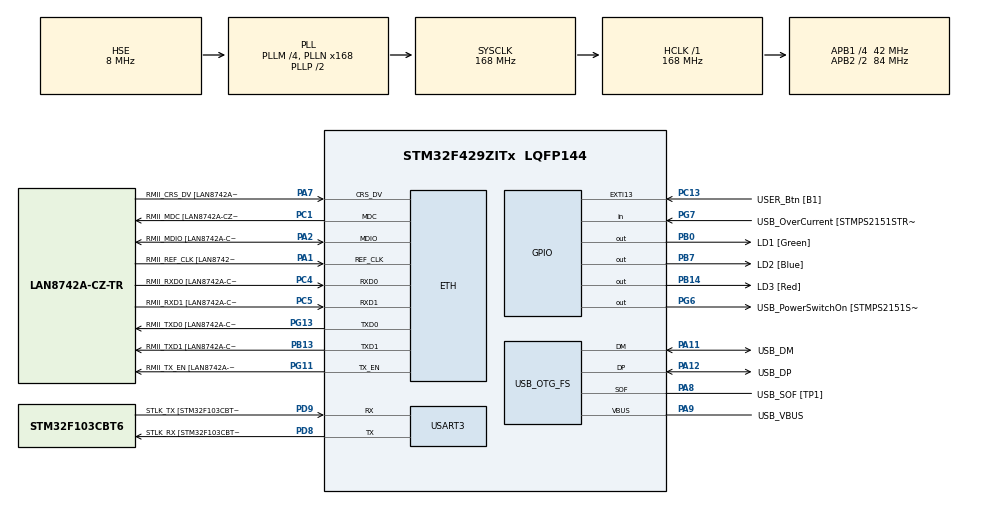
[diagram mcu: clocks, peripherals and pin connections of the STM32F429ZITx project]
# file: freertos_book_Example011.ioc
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ETH.MediaInterface=HAL_ETH_RMII_MODE
ETH.PHY_Name=LAN8742A_PHY_ADDRESS
ETH.PHY_Value=0
ETH.PhyAddress=0
FREERTOS.MEMORY_ALLOCATION=0
FREERTOS.Tasks01=defaultTask,0,128,StartDefaultTask,Default,NULL,Dynamic,NULL,NULL
FREERTOS.configUSE_NEWLIB_REENTRANT=1
Mcu.Family=STM32F4
Mcu.Name=STM32F429ZITx
Mcu.Package=LQFP144
NVIC.PriorityGroup=NVIC_PRIORITYGROUP_4
NVIC.TIM7_IRQn=true\:15\:0\:false\:false\:true\:false\:false\:true\:true
NVIC.TimeBase=TIM7_IRQn
NVIC.TimeBaseIP=TIM7
PA1.GPIO_Label=RMII_REF_CLK [LAN8742A-CZ-TR_REFCLK0]
PA1.Mode=RMII
PA1.Signal=ETH_REF_CLK
PA10.GPIO_Label=USB_ID
PA10.Signal=USB_OTG_FS_ID
PA11.GPIO_Label=USB_DM
PA11.Mode=Device_Only
PA11.Signal=USB_OTG_FS_DM
PA12.GPIO_Label=USB_DP
PA12.Mode=Device_Only
PA12.Signal=USB_OTG_FS_DP
PA13.GPIO_Label=TMS
PA13.Mode=Serial_Wire
PA13.Signal=SYS_JTMS-SWDIO
PA14.GPIO_Label=TCK
PA14.Mode=Serial_Wire
PA14.Signal=SYS_JTCK-SWCLK
PA2.GPIO_Label=RMII_MDIO [LAN8742A-CZ-TR_MDIO]
PA2.Mode=RMII
PA2.Signal=ETH_MDIO
PA7.GPIO_Label=RMII_CRS_DV [LAN8742A-CZ-TR_CRS_DV]
PA7.Mode=RMII
PA7.Signal=ETH_CRS_DV
PA8.GPIO_Label=USB_SOF [TP1]
PA8.Mode=Activate_SOF_FS
PA8.Signal=USB_OTG_FS_SOF
PA9.GPIO_Label=USB_VBUS
PA9.Mode=Activate_VBUS
PA9.Signal=USB_OTG_FS_VBUS
PB0.GPIO_Label=LD1 [Green]
PB0.Signal=GPIO_Output
PB13.GPIO_Label=RMII_TXD1 [LAN8742A-CZ-TR_TXD1]
PB13.Mode=RMII
PB13.Signal=ETH_TXD1
PB14.GPIO_Label=LD3 [Red]
PB14.Signal=GPIO_Output
PB7.GPIO_Label=LD2 [Blue]
PB7.Signal=GPIO_Output
PC1.GPIO_Label=RMII_MDC [LAN8742A-CZ-TR_MDC]
PC1.Mode=RMII
PC1.Signal=ETH_MDC
PC13.GPIO_Label=USER_Btn [B1]
PC13.Signal=GPXTI13
PC14/OSC32_IN.Mode=LSE-External-Oscillator
PC14/OSC32_IN.Signal=RCC_OSC32_IN
PC15/OSC32_OUT.Mode=LSE-External-Oscillator
PC15/OSC32_OUT.Signal=RCC_OSC32_OUT
PC4.GPIO_Label=RMII_RXD0 [LAN8742A-CZ-TR_RXD0]
PC4.Mode=RMII
PC4.Signal=ETH_RXD0
PC5.GPIO_Label=RMII_RXD1 [LAN8742A-CZ-TR_RXD1]
PC5.Mode=RMII
PC5.Signal=ETH_RXD1
PD8.GPIO_Label=STLK_RX [STM32F103CBT6_PA3]
PD8.Mode=Asynchronous
PD8.Signal=USART3_TX
PD9.GPIO_Label=STLK_TX [STM32F103CBT6_PA2]
PD9.Mode=Asynchronous
PD9.Signal=USART3_RX
PG11.GPIO_Label=RMII_TX_EN [LAN8742A-CZ-TR_TXEN]
PG11.Mode=RMII
PG11.Signal=ETH_TX_EN
PG13.GPIO_Label=RMII_TXD0 [LAN8742A-CZ-TR_TXD0]
PG13.Mode=RMII
PG13.Signal=ETH_TXD0
PG6.GPIO_Label=USB_PowerSwitchOn [STMPS2151STR_EN]
PG6.Signal=GPIO_Output
PG7.GPIO_Label=USB_OverCurrent [STMPS2151STR_FAULT]
PG7.Signal=GPIO_Input
PH0/OSC_IN.GPIO_Label=MCO [STM32F103CBT6_PA8]
PH0/OSC_IN.Mode=HSE-External-Clock-Source
PH0/OSC_IN.Signal=RCC_OSC_IN
PH1/OSC_OUT.Mode=HSE-External-Clock-Source
PH1/OSC_OUT.Signal=RCC_OSC_OUT
ProjectManager.HeapSize=0x200
ProjectManager.StackSize=0x400
ProjectManager.TargetToolchain=STM32CubeIDE
RCC.48MHZClocksFreq_Value=48000000
RCC.AHBFreq_Value=168000000
RCC.APB1CLKDivider=RCC_HCLK_DIV4
RCC.APB1Freq_Value=42000000
RCC.APB1TimFreq_Value=84000000
RCC.APB2CLKDivider=RCC_HCLK_DIV2
RCC.APB2Freq_Value=84000000
RCC.APB2TimCLKDivider=2
RCC.APB2TimFreq_Value=168000000
RCC.CortexFreq_Value=168000000
RCC.HCLKFreq_Value=168000000
RCC.HSE_VALUE=8000000
RCC.HSI_VALUE=16000000
RCC.PLLM=4
RCC.PLLMUL=RCC_PLL_MUL9
RCC.PLLN=168
RCC.PLLQ=7
RCC.PRESCALERUSB=RCC_USBCLKSOURCE_PLL_DIV1_5
RCC.SYSCLKFreq_VALUE=168000000
RCC.SYSCLKSource=RCC_SYSCLKSOURCE_PLLCLK
RCC.SYSCLKSourceVirtual=RCC_SYSCLKSOURCE_PLLCLK
RCC.USBFreq_Value=48000000
RCC.VCOOutputFreq_Value=336000000
USART3.VirtualMode=VM_ASYNC
USB_OTG_FS.VirtualMode=Device_Only
VP_FREERTOS_VS_CMSIS_V1.Mode=CMSIS_V1
VP_SYS_VS_tim7.Mode=TIM7
board=NUCLEO-F429ZI

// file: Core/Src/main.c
/* USER CODE BEGIN Header */
/**
  ******************************************************************************
  * @file           : main.c
  * @brief          : Main program body
  ******************************************************************************
  * @attention
  *
  * Copyright (c) 2022 STMicroelectronics.
  * All rights reserved.
  *
  * This software is licensed under terms that can be found in the LICENSE file
  * in the root directory of this software component.
  * If no LICENSE file comes with this software, it is provided AS-IS.
  *
  ******************************************************************************
  */
/* USER CODE END Header */
#include "main.h"
#include "string.h"
#include "cmsis_os.h"

/* USER CODE BEGIN Includes */
/* Standard includes. */
#include <stdio.h>
#include <stdlib.h>

/* Demo includes. */
#include "supportingFunctions.h"

/* USER CODE END Includes */

/* USER CODE BEGIN PD */
typedef enum
{
	eSender1,
	eSender2
} DataSource_t;

/* Define the structure type that will be passed on the queue. */
typedef struct
{
	uint8_t ucValue;
	DataSource_t eDataSource;
} Data_t;

/* Declare two variables of type Data_t that will be passed on the queue. */
static const Data_t xStructsToSend[ 2 ] =
{
	{ 100, eSender1 }, /* Used by Sender1. */
	{ 200, eSender2 }  /* Used by Sender2. */
};

/* USER CODE END PD */

ETH_TxPacketConfig TxConfig;
ETH_DMADescTypeDef  DMARxDscrTab[ETH_RX_DESC_CNT]; /* Ethernet Rx DMA Descriptors */
ETH_DMADescTypeDef  DMATxDscrTab[ETH_TX_DESC_CNT]; /* Ethernet Tx DMA Descriptors */

ETH_HandleTypeDef heth;

UART_HandleTypeDef huart3;

PCD_HandleTypeDef hpcd_USB_OTG_FS;

osThreadId defaultTaskHandle;
/* USER CODE BEGIN PV */
QueueHandle_t QueueHandle;

/* USER CODE END PV */

void SystemClock_Config(void);
static void MX_GPIO_Init(void);
static void MX_ETH_Init(void);
static void MX_USART3_UART_Init(void);
static void MX_USB_OTG_FS_PCD_Init(void);
void StartDefaultTask(void const * argument);

/* USER CODE BEGIN PFP */
void vSenderTask(void *pvParameters);
void vReceiverTask(void *pvParameters);

/* USER CODE END PFP */

int main(void)
{
  /* USER CODE BEGIN 1 */
	const char *pcTextForMain = "freertos_book_Example011 is running: Blocking when sending to a queue, and sending structures on a queue\r\n\n";

  /* USER CODE END 1 */

  /* MCU Configuration--------------------------------------------------------*/

  /* Reset of all peripherals, Initializes the Flash interface and the Systick. */
  HAL_Init();

  /* Configure the system clock */
  SystemClock_Config();

  /* Initialize all configured peripherals */
  MX_GPIO_Init();
  MX_ETH_Init();
  MX_USART3_UART_Init();
  MX_USB_OTG_FS_PCD_Init();
  /* USER CODE BEGIN 2 */
	/* Print out the name of this Example. */
	vPrintString( pcTextForMain );

  /* USER CODE END 2 */

  /* USER CODE BEGIN RTOS_QUEUES */
  /* add queues, ... */
    /* The queue is created to hold a maximum of 3 structures of type Data_t. */
	QueueHandle = xQueueCreate( 5, sizeof( Data_t ) );

    /* Check the queues was created successfully */
    configASSERT( QueueHandle != NULL );

  /* USER CODE END RTOS_QUEUES */

  /* Create the thread(s) */
  /* definition and creation of defaultTask */
  osThreadDef(defaultTask, StartDefaultTask, osPriorityNormal, 0, 128);
  defaultTaskHandle = osThreadCreate(osThread(defaultTask), NULL);

  /* USER CODE BEGIN RTOS_THREADS */
  /* add threads, ... */
	BaseType_t ret;

	/* Sender 1 thread at priority 2 */
	ret = xTaskCreate( vSenderTask,					/* Pointer to the function thats implement the task. */
					   "Sender 1",					/* Text name for the task. This is to facilitate debugging only. */
					   (4 * configMINIMAL_STACK_SIZE),	/* Stack depth in words. 				*/
					   ( void * ) &( xStructsToSend[ 0 ] ),	/* Pass the structure to be used in as the task parameter.	*/
					   (tskIDLE_PRIORITY + 2UL),	/* This task will run at priority 2. 		*/
		               NULL );          	        /* We are not using the task handle. */

	/* Check the task was created successfully. */
	configASSERT( ret == pdPASS );

	/* Sender 2 thread at priority 2 */
	ret = xTaskCreate( vSenderTask,					/* Pointer to the function thats implement the task. */
					   "Sender 2",					/* Text name for the task. This is to facilitate debugging only. */
					   (4 * configMINIMAL_STACK_SIZE),	/* Stack depth in words. 				*/
					   ( void * ) &( xStructsToSend[ 1 ] ),	/* Pass the structure to be used in as the task parameter.	*/
					   (tskIDLE_PRIORITY + 2UL),	/* This task will run at priority 2. 		*/
		               NULL );          	        /* We are not using the task handle. */

	/* Check the task was created successfully. */
	configASSERT( ret == pdPASS );

	/* Receiver thread at priority 1 */
	ret = xTaskCreate( vReceiverTask,				/* Pointer to the function thats implement the task. */
					   "Receiver",					/* Text name for the task. This is to facilitate debugging only. */
					   (4 * configMINIMAL_STACK_SIZE),	/* Stack depth in words. 				*/
					   NULL,						/* We are not using the task parameter.		*/
					   (tskIDLE_PRIORITY + 1UL),	/* This task will run at priority 1. 		*/
		               NULL );          	        /* We are not using the task handle. */

	/* Check the task was created successfully. */
	configASSERT( ret == pdPASS );

  /* USER CODE END RTOS_THREADS */

  /* Start scheduler */
  osKernelStart();

  /* We should never get here as control is now taken by the scheduler */
  /* Infinite loop */
  while (1)
  {

  }
}

void SystemClock_Config(void)
{
  RCC_OscInitTypeDef RCC_OscInitStruct = {0};
  RCC_ClkInitTypeDef RCC_ClkInitStruct = {0};

  /** Configure the main internal regulator output voltage
  */
  __HAL_RCC_PWR_CLK_ENABLE();
  __HAL_PWR_VOLTAGESCALING_CONFIG(PWR_REGULATOR_VOLTAGE_SCALE1);

  /** Initializes the RCC Oscillators according to the specified parameters
  * in the RCC_OscInitTypeDef structure.
  */
  RCC_OscInitStruct.OscillatorType = RCC_OSCILLATORTYPE_HSE;
  RCC_OscInitStruct.HSEState = RCC_HSE_BYPASS;
  RCC_OscInitStruct.PLL.PLLState = RCC_PLL_ON;
  RCC_OscInitStruct.PLL.PLLSource = RCC_PLLSOURCE_HSE;
  RCC_OscInitStruct.PLL.PLLM = 4;
  RCC_OscInitStruct.PLL.PLLN = 168;
  RCC_OscInitStruct.PLL.PLLP = RCC_PLLP_DIV2;
  RCC_OscInitStruct.PLL.PLLQ = 7;
  if (HAL_RCC_OscConfig(&RCC_OscInitStruct) != HAL_OK)
  {
    Error_Handler();
  }

  /** Initializes the CPU, AHB and APB buses clocks
  */
  RCC_ClkInitStruct.ClockType = RCC_CLOCKTYPE_HCLK|RCC_CLOCKTYPE_SYSCLK
                              |RCC_CLOCKTYPE_PCLK1|RCC_CLOCKTYPE_PCLK2;
  RCC_ClkInitStruct.SYSCLKSource = RCC_SYSCLKSOURCE_PLLCLK;
  RCC_ClkInitStruct.AHBCLKDivider = RCC_SYSCLK_DIV1;
  RCC_ClkInitStruct.APB1CLKDivider = RCC_HCLK_DIV4;
  RCC_ClkInitStruct.APB2CLKDivider = RCC_HCLK_DIV2;

  if (HAL_RCC_ClockConfig(&RCC_ClkInitStruct, FLASH_LATENCY_5) != HAL_OK)
  {
    Error_Handler();
  }
}

static void MX_ETH_Init(void)
{

   static uint8_t MACAddr[6];

  heth.Instance = ETH;
  MACAddr[0] = 0x00;
  MACAddr[1] = 0x80;
  MACAddr[2] = 0xE1;
  MACAddr[3] = 0x00;
  MACAddr[4] = 0x00;
  MACAddr[5] = 0x00;
  heth.Init.MACAddr = &MACAddr[0];
  heth.Init.MediaInterface = HAL_ETH_RMII_MODE;
  heth.Init.TxDesc = DMATxDscrTab;
  heth.Init.RxDesc = DMARxDscrTab;
  heth.Init.RxBuffLen = 1524;

  if (HAL_ETH_Init(&heth) != HAL_OK)
  {
    Error_Handler();
  }

  memset(&TxConfig, 0 , sizeof(ETH_TxPacketConfig));
  TxConfig.Attributes = ETH_TX_PACKETS_FEATURES_CSUM | ETH_TX_PACKETS_FEATURES_CRCPAD;
  TxConfig.ChecksumCtrl = ETH_CHECKSUM_IPHDR_PAYLOAD_INSERT_PHDR_CALC;
  TxConfig.CRCPadCtrl = ETH_CRC_PAD_INSERT;

}

static void MX_USART3_UART_Init(void)
{

  huart3.Instance = USART3;
  huart3.Init.BaudRate = 115200;
  huart3.Init.WordLength = UART_WORDLENGTH_8B;
  huart3.Init.StopBits = UART_STOPBITS_1;
  huart3.Init.Parity = UART_PARITY_NONE;
  huart3.Init.Mode = UART_MODE_TX_RX;
  huart3.Init.HwFlowCtl = UART_HWCONTROL_NONE;
  huart3.Init.OverSampling = UART_OVERSAMPLING_16;
  if (HAL_UART_Init(&huart3) != HAL_OK)
  {
    Error_Handler();
  }

}

static void MX_USB_OTG_FS_PCD_Init(void)
{

  hpcd_USB_OTG_FS.Instance = USB_OTG_FS;
  hpcd_USB_OTG_FS.Init.dev_endpoints = 4;
  hpcd_USB_OTG_FS.Init.speed = PCD_SPEED_FULL;
  hpcd_USB_OTG_FS.Init.dma_enable = DISABLE;
  hpcd_USB_OTG_FS.Init.phy_itface = PCD_PHY_EMBEDDED;
  hpcd_USB_OTG_FS.Init.Sof_enable = ENABLE;
  hpcd_USB_OTG_FS.Init.low_power_enable = DISABLE;
  hpcd_USB_OTG_FS.Init.lpm_enable = DISABLE;
  hpcd_USB_OTG_FS.Init.vbus_sensing_enable = ENABLE;
  hpcd_USB_OTG_FS.Init.use_dedicated_ep1 = DISABLE;
  if (HAL_PCD_Init(&hpcd_USB_OTG_FS) != HAL_OK)
  {
    Error_Handler();
  }

}

static void MX_GPIO_Init(void)
{
  GPIO_InitTypeDef GPIO_InitStruct = {0};

  /* GPIO Ports Clock Enable */
  __HAL_RCC_GPIOC_CLK_ENABLE();
  __HAL_RCC_GPIOH_CLK_ENABLE();
  __HAL_RCC_GPIOA_CLK_ENABLE();
  __HAL_RCC_GPIOB_CLK_ENABLE();
  __HAL_RCC_GPIOD_CLK_ENABLE();
  __HAL_RCC_GPIOG_CLK_ENABLE();

  /*Configure GPIO pin Output Level */
  HAL_GPIO_WritePin(GPIOB, LD1_Pin|LD3_Pin|LD2_Pin, GPIO_PIN_RESET);

  /*Configure GPIO pin Output Level */
  HAL_GPIO_WritePin(USB_PowerSwitchOn_GPIO_Port, USB_PowerSwitchOn_Pin, GPIO_PIN_RESET);

  /*Configure GPIO pin : USER_Btn_Pin */
  GPIO_InitStruct.Pin = USER_Btn_Pin;
  GPIO_InitStruct.Mode = GPIO_MODE_IT_RISING;
  GPIO_InitStruct.Pull = GPIO_NOPULL;
  HAL_GPIO_Init(USER_Btn_GPIO_Port, &GPIO_InitStruct);

  /*Configure GPIO pins : LD1_Pin LD3_Pin LD2_Pin */
  GPIO_InitStruct.Pin = LD1_Pin|LD3_Pin|LD2_Pin;
  GPIO_InitStruct.Mode = GPIO_MODE_OUTPUT_PP;
  GPIO_InitStruct.Pull = GPIO_NOPULL;
  GPIO_InitStruct.Speed = GPIO_SPEED_FREQ_LOW;
  HAL_GPIO_Init(GPIOB, &GPIO_InitStruct);

  /*Configure GPIO pin : USB_PowerSwitchOn_Pin */
  GPIO_InitStruct.Pin = USB_PowerSwitchOn_Pin;
  GPIO_InitStruct.Mode = GPIO_MODE_OUTPUT_PP;
  GPIO_InitStruct.Pull = GPIO_NOPULL;
  GPIO_InitStruct.Speed = GPIO_SPEED_FREQ_LOW;
  HAL_GPIO_Init(USB_PowerSwitchOn_GPIO_Port, &GPIO_InitStruct);

  /*Configure GPIO pin : USB_OverCurrent_Pin */
  GPIO_InitStruct.Pin = USB_OverCurrent_Pin;
  GPIO_InitStruct.Mode = GPIO_MODE_INPUT;
  GPIO_InitStruct.Pull = GPIO_NOPULL;
  HAL_GPIO_Init(USB_OverCurrent_GPIO_Port, &GPIO_InitStruct);

}

/* USER CODE BEGIN 4 */

/* USER CODE BEGIN Header_vSenderTask */
/**
  * @brief  Function implementing the Sender1 thread.
  * @param  argument: Not used
  * @retval None
  */
/* USER CODE END Header_vSenderTask */
void vSenderTask( void *pvParameters )
{
	BaseType_t xStatus;
	const TickType_t xTicksToWait = pdMS_TO_TICKS( 100UL );

	/* Print out the name of this task. */
	vPrintString( "Task Sender is running\r\n" );

	/* As per most tasks, this task is implemented within an infinite loop. */
	for( ;; )
	{
		/* The first parameter is the queue to which data is being sent.  The
		queue was created before the scheduler was started, so before this task
		started to execute.

		The second parameter is the address of the structure being sent.  The
		address is passed in as the task parameter.

		The third parameter is the Block time - the time the task should be kept
		in the Blocked state to wait for space to become available on the queue
		should the queue already be full.  A block time is specified as the queue
		will become full.  Items will only be removed from the queue when both
		sending tasks are in the Blocked state.. */
		xStatus = xQueueSendToBack( QueueHandle, pvParameters, xTicksToWait );

		if( xStatus != pdPASS )
		{
			/* We could not write to the queue because it was full - this must
			be an error as the receiving task should make space in the queue
			as soon as both sending tasks are in the Blocked state. */
			vPrintString( "Could not send to the queue.\r\n" );
		}
	}
}

/* USER CODE BEGIN Header_vReceiverTask */
/**
* @brief Function implementing the Receiver thread.
* @param argument: Not used
* @retval None
*/
/* USER CODE END Header_vReceiverTask */
void vReceiverTask( void *pvParameters )
{
	/* Declare the structure that will hold the values received from the queue. */
	Data_t xReceivedStructure;
	BaseType_t xStatus;

	/* Print out the name of this task. */
	vPrintString( "Task Receiver is running\r\n" );

	/* This task is also defined within an infinite loop. */
	for( ;; )
	{
		/* As this task only runs when the sending tasks are in the Blocked state,
		and the sending tasks only block when the queue is full, this task should
		always find the queue to be full.  3 is the queue length. */
		if( uxQueueMessagesWaiting( QueueHandle ) != 5 )
		{
			vPrintString( "Queue should have been full!\r\n" );
		}

		/* The first parameter is the queue from which data is to be received.  The
		queue is created before the scheduler is started, and therefore before this
		task runs for the first time.

		The second parameter is the buffer into which the received data will be
		placed.  In this case the buffer is simply the address of a variable that
		has the required size to hold the received structure.

		The last parameter is the block time - the maximum amount of time that the
		task should remain in the Blocked state to wait for data to be available
		should the queue already be empty.  A block time is not necessary as this
		task will only run when the queue is full so data will always be available. */
		xStatus = xQueueReceive( QueueHandle, &xReceivedStructure, 0 );

		if( xStatus == pdPASS )
		{
			/* Data was successfully received from the queue, print out the received
			value and the source of the value. */
			if( xReceivedStructure.eDataSource == eSender1 )
			{
				vPrintStringAndNumber( "From Sender 1 = ", xReceivedStructure.ucValue );
			}
			else
			{
				vPrintStringAndNumber( "From Sender 2 = ", xReceivedStructure.ucValue );
			}
		}
		else
		{
			/* We did not receive anything from the queue.  This must be an error
			as this task should only run when the queue is full. */
			vPrintString( "Could not receive from the queue.\r\n" );
		}
	}
}

/* USER CODE END 4 */

void StartDefaultTask(void const * argument)
{
  /* USER CODE BEGIN 5 */
  /* Infinite loop */
  for(;;)
  {
    osDelay(50000);
  }
  /* USER CODE END 5 */
}

void HAL_TIM_PeriodElapsedCallback(TIM_HandleTypeDef *htim)
{
  if (htim->Instance == TIM7) {
    HAL_IncTick();
  }
}

void Error_Handler(void)
{
  __disable_irq();
  while (1)
  {
  }
}
